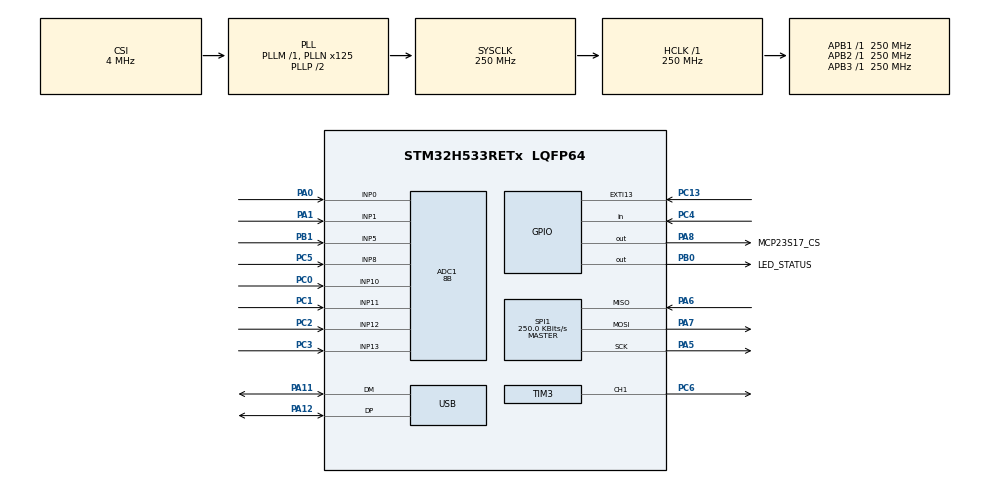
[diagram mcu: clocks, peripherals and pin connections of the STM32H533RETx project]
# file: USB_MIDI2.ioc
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ADC1.Channel-0\#ChannelRegularConversion=ADC_CHANNEL_0
ADC1.Channel-1\#ChannelRegularConversion=ADC_CHANNEL_1
ADC1.Channel-2\#ChannelRegularConversion=ADC_CHANNEL_5
ADC1.Channel-3\#ChannelRegularConversion=ADC_CHANNEL_10
ADC1.Channel-4\#ChannelRegularConversion=ADC_CHANNEL_11
ADC1.Channel-5\#ChannelRegularConversion=ADC_CHANNEL_12
ADC1.Channel-6\#ChannelRegularConversion=ADC_CHANNEL_13
ADC1.Channel-7\#ChannelRegularConversion=ADC_CHANNEL_8
ADC1.DMAContinuousRequests=ENABLE
ADC1.ExternalTrigConv=ADC_EXTERNALTRIG_T6_TRGO
ADC1.MonitoredBy-0\#ChannelRegularConversion=__NULL
ADC1.MonitoredBy-1\#ChannelRegularConversion=__NULL
ADC1.MonitoredBy-2\#ChannelRegularConversion=__NULL
ADC1.MonitoredBy-3\#ChannelRegularConversion=__NULL
ADC1.MonitoredBy-4\#ChannelRegularConversion=__NULL
ADC1.MonitoredBy-5\#ChannelRegularConversion=__NULL
ADC1.MonitoredBy-6\#ChannelRegularConversion=__NULL
ADC1.MonitoredBy-7\#ChannelRegularConversion=__NULL
ADC1.NbrOfConversion=8
ADC1.NbrOfConversionFlag=1
ADC1.OffsetNumber-0\#ChannelRegularConversion=ADC_OFFSET_NONE
ADC1.OffsetNumber-1\#ChannelRegularConversion=ADC_OFFSET_NONE
ADC1.OffsetNumber-2\#ChannelRegularConversion=ADC_OFFSET_NONE
ADC1.OffsetNumber-3\#ChannelRegularConversion=ADC_OFFSET_NONE
ADC1.OffsetNumber-4\#ChannelRegularConversion=ADC_OFFSET_NONE
ADC1.OffsetNumber-5\#ChannelRegularConversion=ADC_OFFSET_NONE
ADC1.OffsetNumber-6\#ChannelRegularConversion=ADC_OFFSET_NONE
ADC1.OffsetNumber-7\#ChannelRegularConversion=ADC_OFFSET_NONE
ADC1.Rank-0\#ChannelRegularConversion=1
ADC1.Rank-1\#ChannelRegularConversion=2
ADC1.Rank-2\#ChannelRegularConversion=3
ADC1.Rank-3\#ChannelRegularConversion=4
ADC1.Rank-4\#ChannelRegularConversion=5
ADC1.Rank-5\#ChannelRegularConversion=6
ADC1.Rank-6\#ChannelRegularConversion=7
ADC1.Rank-7\#ChannelRegularConversion=8
ADC1.Resolution=ADC_RESOLUTION_8B
ADC1.SamplingTime-0\#ChannelRegularConversion=ADC_SAMPLETIME_24CYCLES_5
ADC1.SamplingTime-1\#ChannelRegularConversion=ADC_SAMPLETIME_24CYCLES_5
ADC1.SamplingTime-2\#ChannelRegularConversion=ADC_SAMPLETIME_24CYCLES_5
ADC1.SamplingTime-3\#ChannelRegularConversion=ADC_SAMPLETIME_24CYCLES_5
ADC1.SamplingTime-4\#ChannelRegularConversion=ADC_SAMPLETIME_24CYCLES_5
ADC1.SamplingTime-5\#ChannelRegularConversion=ADC_SAMPLETIME_24CYCLES_5
ADC1.SamplingTime-6\#ChannelRegularConversion=ADC_SAMPLETIME_24CYCLES_5
ADC1.SamplingTime-7\#ChannelRegularConversion=ADC_SAMPLETIME_24CYCLES_5
ADC1.master=1
BOOTPATH.BootPathName=LEGACY
BOOTPATH.UserSelectedBootPath=LEGACY
CORTEX_M33_NS.userName=CORTEX_M33
GPDMA1.CIRCULARMODE_GPDMACH0=ENABLE
GPDMA1.DESTDATAWIDTH_GPDMACH1=DMA_DEST_DATAWIDTH_HALFWORD
GPDMA1.DESTINC_GPDMACH0=DMA_DINC_INCREMENTED
GPDMA1.DIRECTION_GPDMACH1=DMA_MEMORY_TO_PERIPH
GPDMA1.IPHANDLE_GPDMACH0-SIMPLEREQUEST_GPDMACH0=__NULL
GPDMA1.IPHANDLE_GPDMACH1-SIMPLEREQUEST_GPDMACH1=__NULL
GPDMA1.REQUEST_GPDMACH0=GPDMA1_REQUEST_ADC1
GPDMA1.REQUEST_GPDMACH1=GPDMA1_REQUEST_TIM3_CH1
GPDMA1.SRCDATAWIDTH_GPDMACH1=DMA_SRC_DATAWIDTH_HALFWORD
GPDMA1.SRCINC_GPDMACH1=DMA_SINC_INCREMENTED
Mcu.Family=STM32H5
Mcu.Name=STM32H533RETx
Mcu.Package=LQFP64
NUCLEO-H533RE.BUTTON=1
NUCLEO-H533RE.VCP=true
NVIC.ADC1_IRQn=true\:0\:0\:false\:false\:true\:true\:true\:true
NVIC.EXTI13_IRQn=true\:0\:0\:false\:false\:true\:false\:true\:true
NVIC.GPDMA1_Channel0_IRQn=true\:0\:0\:false\:false\:true\:false\:true\:true
NVIC.GPDMA1_Channel1_IRQn=true\:0\:0\:false\:false\:true\:false\:true\:true
NVIC.PriorityGroup=NVIC_PRIORITYGROUP_4
NVIC.TIM3_IRQn=true\:0\:0\:false\:false\:true\:true\:true\:true
NVIC.TIM6_IRQn=true\:0\:0\:false\:false\:true\:true\:true\:true
NVIC.USB_DRD_FS_IRQn=true\:0\:0\:false\:false\:true\:true\:true\:true
PA0.Signal=ADCx_INP0
PA1.Signal=ADCx_INP1
PA11.Mode=Device
PA11.Signal=USB_DM
PA12.Mode=Device
PA12.Signal=USB_DP
PA13(JTMS/SWDIO).GPIO_Label=SWDIO
PA13(JTMS/SWDIO).Signal=DEBUG_JTMS-SWDIO
PA14(JTCK/SWCLK).GPIO_Label=SWCLK
PA14(JTCK/SWCLK).Signal=DEBUG_JTCK-SWCLK
PA15(JTDI).GPIO_Label=JTDI
PA15(JTDI).Signal=DEBUG_JTDI
PA2.Signal=USART2_TX
PA3.Signal=USART2_RX
PA5.GPIO_Speed=GPIO_SPEED_FREQ_VERY_HIGH
PA5.Mode=Full_Duplex_Master
PA5.Signal=SPI1_SCK
PA6.GPIO_Speed=GPIO_SPEED_FREQ_HIGH
PA6.Mode=Full_Duplex_Master
PA6.Signal=SPI1_MISO
PA7.GPIO_Speed=GPIO_SPEED_FREQ_VERY_HIGH
PA7.Mode=Full_Duplex_Master
PA7.Signal=SPI1_MOSI
PA8.GPIO_Label=MCP23S17_CS
PA8.GPIO_Speed=GPIO_SPEED_FREQ_HIGH
PA8.PinState=GPIO_PIN_SET
PA8.Signal=GPIO_Output
PB0.GPIO_Label=LED_STATUS
PB0.Signal=GPIO_Output
PB1.Signal=ADCx_INP5
PB3(JTDO/TRACESWO).GPIO_Label=SWO
PB3(JTDO/TRACESWO).Signal=DEBUG_JTDO-SWO
PC0.Signal=ADCx_INP10
PC1.Signal=ADCx_INP11
PC13.Signal=GPXTI13
PC2.Signal=ADCx_INP12
PC3.Signal=ADCx_INP13
PC4.Signal=GPIO_Input
PC5.Signal=ADCx_INP8
PC6.Signal=S_TIM3_CH1
ProjectManager.HeapSize=0x200
ProjectManager.StackSize=0x400
ProjectManager.TargetToolchain=MDK-ARM V5.37
RCC.ADCFreq_Value=250000000
RCC.AHBFreq_Value=250000000
RCC.APB1Freq_Value=250000000
RCC.APB1TimFreq_Value=250000000
RCC.APB2Freq_Value=250000000
RCC.APB2TimFreq_Value=250000000
RCC.APB3Freq_Value=250000000
RCC.CSI_VALUE=4000000
RCC.CortexFreq_Value=250000000
RCC.EPOD_VALUE=4000000
RCC.HCLKFreq_Value=250000000
RCC.HSE_VALUE=25000000
RCC.HSI48_VALUE=48000000
RCC.HSI_VALUE=64000000
RCC.LSE_VALUE=32768
RCC.LSIRC_VALUE=32000
RCC.PLL2FRACN=0
RCC.PLL3FRACN=0
RCC.PLLFRACN=0
RCC.PLLN=125
RCC.SPI1CLockSelection=RCC_SPI1CLKSOURCE_CLKP
RCC.SYSCLKFreq_VALUE=250000000
RCC.SYSCLKSource=RCC_SYSCLKSOURCE_PLLCLK
RCC.USBFreq_Value=48000000
RCC.VCOOutputFreq_Value=500000000
SH.ADCx_INP0.0=ADC1_INP0,IN0-Single-Ended
SH.ADCx_INP1.0=ADC1_INP1,IN1-Single-Ended
SH.ADCx_INP10.0=ADC1_INP10,IN10-Single-Ended
SH.ADCx_INP11.0=ADC1_INP11,IN11-Single-Ended
SH.ADCx_INP12.0=ADC1_INP12,IN12-Single-Ended
SH.ADCx_INP13.0=ADC1_INP13,IN13-Single-Ended
SH.ADCx_INP5.0=ADC1_INP5,IN5-Single-Ended
SH.ADCx_INP8.0=ADC1_INP8,IN8-Single-Ended
SH.S_TIM3_CH1.0=TIM3_CH1,PWM Generation1 CH1
SPI1.BaudRatePrescaler=SPI_BAUDRATEPRESCALER_128
SPI1.CalculateBaudRate=250.0 KBits/s
SPI1.DataSize=SPI_DATASIZE_8BIT
SPI1.Direction=SPI_DIRECTION_2LINES
SPI1.Mode=SPI_MODE_MASTER
SPI1.NSSPMode=SPI_NSS_PULSE_DISABLE
SPI1.VirtualType=VM_MASTER
TIM3.Channel-PWM\ Generation1\ CH1=TIM_CHANNEL_1
TIM3.PeriodNoDither=312
TIM6.PeriodNoDither=999
TIM6.Prescaler=249
TIM6.TIM_MasterOutputTrigger=TIM_TRGO_UPDATE
USB.VirtualMode=Device_Only
VP_BOOTPATH_VS_BOOTPATH.Mode=BP_Activate
VP_CORTEX_M33_NS_VS_Hclk.Mode=Hclk_Mode
VP_GPDMA1_VS_GPDMACH0.Mode=SIMPLEREQUEST_GPDMACH0
VP_GPDMA1_VS_GPDMACH1.Mode=SIMPLEREQUEST_GPDMACH1
VP_ICACHE_VS_ICACHE.Mode=DirectMappedCache
VP_MEMORYMAP_VS_MEMORYMAP.Mode=CurAppReg
VP_NUCLEO-H533RE_VS_BSP_COMMON.Mode=COMMON
VP_PWR_VS_LPOM.Mode=PowerOptimisation
VP_PWR_VS_SECSignals.Mode=Security/Privilege
VP_TIM3_VS_ClockSourceINT.Mode=Internal
VP_TIM6_VS_ClockSourceINT.Mode=Enable_Timer
board=NUCLEO-H533RE

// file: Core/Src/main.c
/* USER CODE BEGIN Header */
/**
  ******************************************************************************
  * @file           : main.c
  * @brief          : Main program body
  ******************************************************************************
  * @attention
  *
  * Copyright (c) 2026 STMicroelectronics.
  * All rights reserved.
  *
  * This software is licensed under terms that can be found in the LICENSE file
  * in the root directory of this software component.
  * If no LICENSE file comes with this software, it is provided AS-IS.
  *
  ******************************************************************************
  */
/* USER CODE END Header */
#include "main.h"

/* USER CODE BEGIN Includes */
#include "tusb.h"

// ========== MATRIX TOGGLE ==========
// Comment out the line below to DISABLE the 4x4 matrix and go back to test-note mode
#define ENABLE_MATRIX
// ====================================

#ifdef ENABLE_MATRIX
#include "mcp23s17.h"
#include "sk6812.h"
#endif
/* USER CODE END Includes */

/* USER CODE BEGIN PD */
#define HYSTERESIS    4

// Fase 2: meerdere potentiometers
// Zet hieronder het aantal ADC kanalen dat je in CubeMX hebt geconfigureerd.
// (ADC scan mode enable + NbrOfConversion = POT_COUNT)
#define POT_COUNT     8

// MIDI CC mapping per potentiometer (0..POT_COUNT-1)
#define MIDI_CC_POT1  16
#define MIDI_CC_POT2  17
#define MIDI_CC_POT3  18
#define MIDI_CC_POT4  19
#define MIDI_CC_POT5  20
#define MIDI_CC_POT6  21
#define MIDI_CC_POT7  22
#define MIDI_CC_POT8  23
/* USER CODE END PD */

COM_InitTypeDef BspCOMInit;
ADC_HandleTypeDef hadc1;
DMA_NodeTypeDef Node_GPDMA1_Channel0;
DMA_QListTypeDef List_GPDMA1_Channel0;
DMA_HandleTypeDef handle_GPDMA1_Channel0;

SPI_HandleTypeDef hspi1;

TIM_HandleTypeDef htim3;
TIM_HandleTypeDef htim6;
DMA_HandleTypeDef handle_GPDMA1_Channel1;

PCD_HandleTypeDef hpcd_USB_DRD_FS;

/* USER CODE BEGIN PV */
// ADC waarden - worden continu gevuld door DMA (circular)
volatile uint8_t adc_values[POT_COUNT];
uint8_t last_midi_values[POT_COUNT] = {0};
/* USER CODE END PV */

void SystemClock_Config(void);
void PeriphCommonClock_Config(void);
static void MX_GPIO_Init(void);
static void MX_GPDMA1_Init(void);
static void MX_USB_PCD_Init(void);
static void MX_ICACHE_Init(void);
static void MX_ADC1_Init(void);
static void MX_SPI1_Init(void);
static void MX_TIM6_Init(void);
static void MX_TIM3_Init(void);
/* USER CODE BEGIN PFP */
extern void tusb_hal_init(void);
void midi_task(void);
void ADC_Start(void);
void process_potentiometer(void);
/* USER CODE END PFP */

/* USER CODE BEGIN 0 */
void ADC_Start(void) {
    // Start the timer to trigger ADC
    HAL_TIM_Base_Start(&htim6);
    // Start ADC conversion on continuous DMA request
    HAL_ADC_Start_DMA(&hadc1, (uint32_t*)adc_values, POT_COUNT);
}

static uint8_t pot_cc(uint8_t index)
{
  switch (index)
  {
    case 0: return MIDI_CC_POT1;
    case 1: return MIDI_CC_POT2;
    case 2: return MIDI_CC_POT3;
    case 3: return MIDI_CC_POT4;
    case 4: return MIDI_CC_POT5;
    case 5: return MIDI_CC_POT6;
    case 6: return MIDI_CC_POT7;
    case 7: return MIDI_CC_POT8;
    default: return 0;
  }
}

void process_potentiometer(void) {
    if (!tud_midi_mounted()) return;

    for (uint8_t i = 0; i < POT_COUNT; i++)
    {
      // 8-bit (0-255) -> 7-bit MIDI (0-127)
      uint8_t new_value = adc_values[i] >> 1;

      int16_t diff = (int16_t)new_value - (int16_t)last_midi_values[i];
      if (diff < 0) diff = -diff;

      if (diff >= HYSTERESIS)
      {
        uint8_t cc = pot_cc(i);
        if (cc != 0)
        {
          uint8_t msg[3] = { 0xB0, cc, new_value };
          tud_midi_stream_write(0, msg, 3);
        }
        last_midi_values[i] = new_value;
      }
    }
}
/* USER CODE END 0 */

int main(void)
{

  /* MCU Configuration--------------------------------------------------------*/

  /* Reset of all peripherals, Initializes the Flash interface and the Systick. */
  HAL_Init();

  /* Configure the system clock */
  SystemClock_Config();

  /* Configure the peripherals common clocks */
  PeriphCommonClock_Config();

  /* Initialize all configured peripherals */
  MX_GPIO_Init();
  MX_GPDMA1_Init();
  MX_USB_PCD_Init();
  MX_ICACHE_Init();
  MX_ADC1_Init();
  MX_SPI1_Init();
  MX_TIM6_Init();
  MX_TIM3_Init();
  /* USER CODE BEGIN 2 */

  // Initialize SK6812 LED strip and run animation before blocking tasks
#ifdef ENABLE_MATRIX
  sk6812_init();
  sk6812_startup_animation();
#endif

  // Initialize tinyUSB FIRST (must be before SPI/Matrix!)
  tusb_init();

  // Start USB peripheral
  tusb_hal_init();

  // SPI is already initialized by CubeMX/HAL. We only START using it after USB is mounted.

  ADC_Start(); // Start de timer en ADC voor Fase 1
  /* USER CODE END 2 */

  /* Initialize USER push-button, will be used to trigger an interrupt each time it's pressed.*/
  BSP_PB_Init(BUTTON_USER, BUTTON_MODE_EXTI);

  /* Initialize COM1 port (115200, 8 bits (7-bit data + 1 stop bit), no parity */
  BspCOMInit.BaudRate   = 115200;
  BspCOMInit.WordLength = COM_WORDLENGTH_8B;
  BspCOMInit.StopBits   = COM_STOPBITS_1;
  BspCOMInit.Parity     = COM_PARITY_NONE;
  BspCOMInit.HwFlowCtl  = COM_HWCONTROL_NONE;
  if (BSP_COM_Init(COM1, &BspCOMInit) != BSP_ERROR_NONE)
  {
    Error_Handler();
  }

  /* Infinite loop */
  while (1)
  {

    /* USER CODE BEGIN 3 */

    // TinyUSB device task - MUST be called frequently!
    tud_task();

#ifdef ENABLE_MATRIX
    // Start matrix only AFTER USB enumeration is complete.
    // This prevents long SPI timeouts from breaking USB detection.
    static bool matrix_started = false;
    static uint32_t matrix_arm_ms = 0;
  static uint32_t matrix_retry_ms = 0;

    if (!matrix_started)
    {
      if (tud_mounted())
      {
        // Backoff between retries if MCP is not responding
        if (matrix_retry_ms != 0)
        {
          if ((HAL_GetTick() - matrix_retry_ms) < 1000)
          {
            // wait before trying again
            midi_task();
            continue;
          }
          matrix_retry_ms = 0;
        }

        if (matrix_arm_ms == 0) matrix_arm_ms = HAL_GetTick();

        // Give host a moment after mount before starting SPI traffic
        if ((HAL_GetTick() - matrix_arm_ms) >= 250)
        {
          Matrix_Init(&hspi1);

          if (Matrix_IsPresent())
          {
            matrix_started = true;
          }
          else
          {
            // Retry later if MCP23S17 is not responding on SPI
            matrix_retry_ms = HAL_GetTick();
            matrix_arm_ms = 0;
          }
        }
      }
      else
      {
        matrix_arm_ms = 0;
        matrix_retry_ms = 0;
      }
    }
    else
    {
      // Scan 4x4 button matrix and send MIDI notes
      Matrix_Scan();
    }
#endif

    // Drain incoming MIDI + LED heartbeat
    midi_task();

    // Verwerk en verzend de potentiometer CC berichten
    process_potentiometer();
  }
  /* USER CODE END 3 */
}

void SystemClock_Config(void)
{
  RCC_OscInitTypeDef RCC_OscInitStruct = {0};
  RCC_ClkInitTypeDef RCC_ClkInitStruct = {0};

  /** Configure the main internal regulator output voltage
  */
  __HAL_PWR_VOLTAGESCALING_CONFIG(PWR_REGULATOR_VOLTAGE_SCALE0);

  while(!__HAL_PWR_GET_FLAG(PWR_FLAG_VOSRDY)) {}

  /** Initializes the RCC Oscillators according to the specified parameters
  * in the RCC_OscInitTypeDef structure.
  */
  RCC_OscInitStruct.OscillatorType = RCC_OSCILLATORTYPE_HSI48|RCC_OSCILLATORTYPE_HSI
                              |RCC_OSCILLATORTYPE_CSI;
  RCC_OscInitStruct.HSIState = RCC_HSI_ON;
  RCC_OscInitStruct.HSIDiv = RCC_HSI_DIV2;
  RCC_OscInitStruct.HSICalibrationValue = RCC_HSICALIBRATION_DEFAULT;
  RCC_OscInitStruct.HSI48State = RCC_HSI48_ON;
  RCC_OscInitStruct.CSIState = RCC_CSI_ON;
  RCC_OscInitStruct.CSICalibrationValue = RCC_CSICALIBRATION_DEFAULT;
  RCC_OscInitStruct.PLL.PLLState = RCC_PLL_ON;
  RCC_OscInitStruct.PLL.PLLSource = RCC_PLL1_SOURCE_CSI;
  RCC_OscInitStruct.PLL.PLLM = 1;
  RCC_OscInitStruct.PLL.PLLN = 125;
  RCC_OscInitStruct.PLL.PLLP = 2;
  RCC_OscInitStruct.PLL.PLLQ = 2;
  RCC_OscInitStruct.PLL.PLLR = 2;
  RCC_OscInitStruct.PLL.PLLRGE = RCC_PLL1_VCIRANGE_2;
  RCC_OscInitStruct.PLL.PLLVCOSEL = RCC_PLL1_VCORANGE_WIDE;
  RCC_OscInitStruct.PLL.PLLFRACN = 0;
  if (HAL_RCC_OscConfig(&RCC_OscInitStruct) != HAL_OK)
  {
    Error_Handler();
  }

  /** Initializes the CPU, AHB and APB buses clocks
  */
  RCC_ClkInitStruct.ClockType = RCC_CLOCKTYPE_HCLK|RCC_CLOCKTYPE_SYSCLK
                              |RCC_CLOCKTYPE_PCLK1|RCC_CLOCKTYPE_PCLK2
                              |RCC_CLOCKTYPE_PCLK3;
  RCC_ClkInitStruct.SYSCLKSource = RCC_SYSCLKSOURCE_PLLCLK;
  RCC_ClkInitStruct.AHBCLKDivider = RCC_SYSCLK_DIV1;
  RCC_ClkInitStruct.APB1CLKDivider = RCC_HCLK_DIV1;
  RCC_ClkInitStruct.APB2CLKDivider = RCC_HCLK_DIV1;
  RCC_ClkInitStruct.APB3CLKDivider = RCC_HCLK_DIV1;

  if (HAL_RCC_ClockConfig(&RCC_ClkInitStruct, FLASH_LATENCY_5) != HAL_OK)
  {
    Error_Handler();
  }

  /** Configure the programming delay
  */
  __HAL_FLASH_SET_PROGRAM_DELAY(FLASH_PROGRAMMING_DELAY_2);
}

void PeriphCommonClock_Config(void)
{
  RCC_PeriphCLKInitTypeDef PeriphClkInitStruct = {0};

  /** Initializes the peripherals clock
  */
  PeriphClkInitStruct.PeriphClockSelection = RCC_PERIPHCLK_CKPER;
  PeriphClkInitStruct.CkperClockSelection = RCC_CLKPSOURCE_HSI;
  if (HAL_RCCEx_PeriphCLKConfig(&PeriphClkInitStruct) != HAL_OK)
  {
    Error_Handler();
  }
}

static void MX_ADC1_Init(void)
{

  ADC_ChannelConfTypeDef sConfig = {0};

  /** Common config
  */
  hadc1.Instance = ADC1;
  hadc1.Init.ClockPrescaler = ADC_CLOCK_ASYNC_DIV4;
  hadc1.Init.Resolution = ADC_RESOLUTION_8B;
  hadc1.Init.DataAlign = ADC_DATAALIGN_RIGHT;
  hadc1.Init.ScanConvMode = ADC_SCAN_ENABLE;
  hadc1.Init.EOCSelection = ADC_EOC_SINGLE_CONV;
  hadc1.Init.LowPowerAutoWait = DISABLE;
  hadc1.Init.ContinuousConvMode = DISABLE;
  hadc1.Init.NbrOfConversion = 8;
  hadc1.Init.DiscontinuousConvMode = DISABLE;
  hadc1.Init.ExternalTrigConv = ADC_EXTERNALTRIG_T6_TRGO;
  hadc1.Init.ExternalTrigConvEdge = ADC_EXTERNALTRIGCONVEDGE_RISING;
  hadc1.Init.DMAContinuousRequests = ENABLE;
  hadc1.Init.SamplingMode = ADC_SAMPLING_MODE_NORMAL;
  hadc1.Init.Overrun = ADC_OVR_DATA_PRESERVED;
  hadc1.Init.OversamplingMode = DISABLE;
  if (HAL_ADC_Init(&hadc1) != HAL_OK)
  {
    Error_Handler();
  }

  /** Configure Regular Channel
  */
  sConfig.Channel = ADC_CHANNEL_0;
  sConfig.Rank = ADC_REGULAR_RANK_1;
  sConfig.SamplingTime = ADC_SAMPLETIME_24CYCLES_5;
  sConfig.SingleDiff = ADC_SINGLE_ENDED;
  sConfig.OffsetNumber = ADC_OFFSET_NONE;
  sConfig.Offset = 0;
  if (HAL_ADC_ConfigChannel(&hadc1, &sConfig) != HAL_OK)
  {
    Error_Handler();
  }

  /** Configure Regular Channel
  */
  sConfig.Channel = ADC_CHANNEL_1;
  sConfig.Rank = ADC_REGULAR_RANK_2;
  if (HAL_ADC_ConfigChannel(&hadc1, &sConfig) != HAL_OK)
  {
    Error_Handler();
  }

  /** Configure Regular Channel
  */
  sConfig.Channel = ADC_CHANNEL_5;
  sConfig.Rank = ADC_REGULAR_RANK_3;
  if (HAL_ADC_ConfigChannel(&hadc1, &sConfig) != HAL_OK)
  {
    Error_Handler();
  }

  /** Configure Regular Channel
  */
  sConfig.Channel = ADC_CHANNEL_10;
  sConfig.Rank = ADC_REGULAR_RANK_4;
  if (HAL_ADC_ConfigChannel(&hadc1, &sConfig) != HAL_OK)
  {
    Error_Handler();
  }

  /** Configure Regular Channel
  */
  sConfig.Channel = ADC_CHANNEL_11;
  sConfig.Rank = ADC_REGULAR_RANK_5;
  if (HAL_ADC_ConfigChannel(&hadc1, &sConfig) != HAL_OK)
  {
    Error_Handler();
  }

  /** Configure Regular Channel
  */
  sConfig.Channel = ADC_CHANNEL_12;
  sConfig.Rank = ADC_REGULAR_RANK_6;
  if (HAL_ADC_ConfigChannel(&hadc1, &sConfig) != HAL_OK)
  {
    Error_Handler();
  }

  /** Configure Regular Channel
  */
  sConfig.Channel = ADC_CHANNEL_13;
  sConfig.Rank = ADC_REGULAR_RANK_7;
  if (HAL_ADC_ConfigChannel(&hadc1, &sConfig) != HAL_OK)
  {
    Error_Handler();
  }

  /** Configure Regular Channel
  */
  sConfig.Channel = ADC_CHANNEL_8;
  sConfig.Rank = ADC_REGULAR_RANK_8;
  if (HAL_ADC_ConfigChannel(&hadc1, &sConfig) != HAL_OK)
  {
    Error_Handler();
  }

}

static void MX_GPDMA1_Init(void)
{

  /* Peripheral clock enable */
  __HAL_RCC_GPDMA1_CLK_ENABLE();

  /* GPDMA1 interrupt Init */
    HAL_NVIC_SetPriority(GPDMA1_Channel0_IRQn, 0, 0);
    HAL_NVIC_EnableIRQ(GPDMA1_Channel0_IRQn);
    HAL_NVIC_SetPriority(GPDMA1_Channel1_IRQn, 0, 0);
    HAL_NVIC_EnableIRQ(GPDMA1_Channel1_IRQn);

}

static void MX_ICACHE_Init(void)
{

  /** Enable instruction cache in 1-way (direct mapped cache)
  */
  if (HAL_ICACHE_ConfigAssociativityMode(ICACHE_1WAY) != HAL_OK)
  {
    Error_Handler();
  }
  if (HAL_ICACHE_Enable() != HAL_OK)
  {
    Error_Handler();
  }

}

static void MX_SPI1_Init(void)
{

  /* SPI1 parameter configuration*/
  hspi1.Instance = SPI1;
  hspi1.Init.Mode = SPI_MODE_MASTER;
  hspi1.Init.Direction = SPI_DIRECTION_2LINES;
  hspi1.Init.DataSize = SPI_DATASIZE_8BIT;
  hspi1.Init.CLKPolarity = SPI_POLARITY_LOW;
  hspi1.Init.CLKPhase = SPI_PHASE_1EDGE;
  hspi1.Init.NSS = SPI_NSS_SOFT;
  hspi1.Init.BaudRatePrescaler = SPI_BAUDRATEPRESCALER_128;
  hspi1.Init.FirstBit = SPI_FIRSTBIT_MSB;
  hspi1.Init.TIMode = SPI_TIMODE_DISABLE;
  hspi1.Init.CRCCalculation = SPI_CRCCALCULATION_DISABLE;
  hspi1.Init.CRCPolynomial = 0x7;
  hspi1.Init.NSSPMode = SPI_NSS_PULSE_DISABLE;
  hspi1.Init.NSSPolarity = SPI_NSS_POLARITY_LOW;
  hspi1.Init.FifoThreshold = SPI_FIFO_THRESHOLD_01DATA;
  hspi1.Init.MasterSSIdleness = SPI_MASTER_SS_IDLENESS_00CYCLE;
  hspi1.Init.MasterInterDataIdleness = SPI_MASTER_INTERDATA_IDLENESS_00CYCLE;
  hspi1.Init.MasterReceiverAutoSusp = SPI_MASTER_RX_AUTOSUSP_DISABLE;
  hspi1.Init.MasterKeepIOState = SPI_MASTER_KEEP_IO_STATE_DISABLE;
  hspi1.Init.IOSwap = SPI_IO_SWAP_DISABLE;
  hspi1.Init.ReadyMasterManagement = SPI_RDY_MASTER_MANAGEMENT_INTERNALLY;
  hspi1.Init.ReadyPolarity = SPI_RDY_POLARITY_HIGH;
  if (HAL_SPI_Init(&hspi1) != HAL_OK)
  {
    Error_Handler();
  }

}

static void MX_TIM3_Init(void)
{

  TIM_ClockConfigTypeDef sClockSourceConfig = {0};
  TIM_MasterConfigTypeDef sMasterConfig = {0};
  TIM_OC_InitTypeDef sConfigOC = {0};

  htim3.Instance = TIM3;
  htim3.Init.Prescaler = 0;
  htim3.Init.CounterMode = TIM_COUNTERMODE_UP;
  htim3.Init.Period = 312;
  htim3.Init.ClockDivision = TIM_CLOCKDIVISION_DIV1;
  htim3.Init.AutoReloadPreload = TIM_AUTORELOAD_PRELOAD_DISABLE;
  if (HAL_TIM_Base_Init(&htim3) != HAL_OK)
  {
    Error_Handler();
  }
  sClockSourceConfig.ClockSource = TIM_CLOCKSOURCE_INTERNAL;
  if (HAL_TIM_ConfigClockSource(&htim3, &sClockSourceConfig) != HAL_OK)
  {
    Error_Handler();
  }
  if (HAL_TIM_PWM_Init(&htim3) != HAL_OK)
  {
    Error_Handler();
  }
  sMasterConfig.MasterOutputTrigger = TIM_TRGO_RESET;
  sMasterConfig.MasterSlaveMode = TIM_MASTERSLAVEMODE_DISABLE;
  if (HAL_TIMEx_MasterConfigSynchronization(&htim3, &sMasterConfig) != HAL_OK)
  {
    Error_Handler();
  }
  sConfigOC.OCMode = TIM_OCMODE_PWM1;
  sConfigOC.Pulse = 0;
  sConfigOC.OCPolarity = TIM_OCPOLARITY_HIGH;
  sConfigOC.OCFastMode = TIM_OCFAST_DISABLE;
  if (HAL_TIM_PWM_ConfigChannel(&htim3, &sConfigOC, TIM_CHANNEL_1) != HAL_OK)
  {
    Error_Handler();
  }
  HAL_TIM_MspPostInit(&htim3);

}

static void MX_TIM6_Init(void)
{

  TIM_MasterConfigTypeDef sMasterConfig = {0};

  htim6.Instance = TIM6;
  htim6.Init.Prescaler = 249;
  htim6.Init.CounterMode = TIM_COUNTERMODE_UP;
  htim6.Init.Period = 999;
  htim6.Init.AutoReloadPreload = TIM_AUTORELOAD_PRELOAD_DISABLE;
  if (HAL_TIM_Base_Init(&htim6) != HAL_OK)
  {
    Error_Handler();
  }
  sMasterConfig.MasterOutputTrigger = TIM_TRGO_UPDATE;
  sMasterConfig.MasterSlaveMode = TIM_MASTERSLAVEMODE_DISABLE;
  if (HAL_TIMEx_MasterConfigSynchronization(&htim6, &sMasterConfig) != HAL_OK)
  {
    Error_Handler();
  }

}

static void MX_USB_PCD_Init(void)
{

  /* USER CODE BEGIN USB_Init 1 */

  // USB is initialized by HAL (HAL_PCD_Init below). TinyUSB runs on top of it.

  /* USER CODE END USB_Init 1 */
  hpcd_USB_DRD_FS.Instance = USB_DRD_FS;
  hpcd_USB_DRD_FS.Init.dev_endpoints = 8;
  hpcd_USB_DRD_FS.Init.speed = USBD_FS_SPEED;
  hpcd_USB_DRD_FS.Init.phy_itface = PCD_PHY_EMBEDDED;
  hpcd_USB_DRD_FS.Init.Sof_enable = DISABLE;
  hpcd_USB_DRD_FS.Init.low_power_enable = DISABLE;
  hpcd_USB_DRD_FS.Init.lpm_enable = DISABLE;
  hpcd_USB_DRD_FS.Init.battery_charging_enable = DISABLE;
  hpcd_USB_DRD_FS.Init.vbus_sensing_enable = DISABLE;
  hpcd_USB_DRD_FS.Init.bulk_doublebuffer_enable = DISABLE;
  hpcd_USB_DRD_FS.Init.iso_singlebuffer_enable = DISABLE;
  if (HAL_PCD_Init(&hpcd_USB_DRD_FS) != HAL_OK)
  {
    Error_Handler();
  }

}

static void MX_GPIO_Init(void)
{
  GPIO_InitTypeDef GPIO_InitStruct = {0};

  /* GPIO Ports Clock Enable */
  __HAL_RCC_GPIOC_CLK_ENABLE();
  __HAL_RCC_GPIOA_CLK_ENABLE();
  __HAL_RCC_GPIOB_CLK_ENABLE();

  /*Configure GPIO pin Output Level */
  HAL_GPIO_WritePin(LED_STATUS_GPIO_Port, LED_STATUS_Pin, GPIO_PIN_RESET);

  /*Configure GPIO pin Output Level */
  HAL_GPIO_WritePin(MCP23S17_CS_GPIO_Port, MCP23S17_CS_Pin, GPIO_PIN_SET);

  /*Configure GPIO pin : PC4 */
  GPIO_InitStruct.Pin = GPIO_PIN_4;
  GPIO_InitStruct.Mode = GPIO_MODE_INPUT;
  GPIO_InitStruct.Pull = GPIO_NOPULL;
  HAL_GPIO_Init(GPIOC, &GPIO_InitStruct);

  /*Configure GPIO pin : LED_STATUS_Pin */
  GPIO_InitStruct.Pin = LED_STATUS_Pin;
  GPIO_InitStruct.Mode = GPIO_MODE_OUTPUT_PP;
  GPIO_InitStruct.Pull = GPIO_NOPULL;
  GPIO_InitStruct.Speed = GPIO_SPEED_FREQ_LOW;
  HAL_GPIO_Init(LED_STATUS_GPIO_Port, &GPIO_InitStruct);

  /*Configure GPIO pin : MCP23S17_CS_Pin */
  GPIO_InitStruct.Pin = MCP23S17_CS_Pin;
  GPIO_InitStruct.Mode = GPIO_MODE_OUTPUT_PP;
  GPIO_InitStruct.Pull = GPIO_NOPULL;
  GPIO_InitStruct.Speed = GPIO_SPEED_FREQ_HIGH;
  HAL_GPIO_Init(MCP23S17_CS_GPIO_Port, &GPIO_InitStruct);

}

/* USER CODE BEGIN 4 */

//--------------------------------------------------------------------+
// MIDI Task
//--------------------------------------------------------------------+

void midi_task(void)
{
  // Drain incoming MIDI to avoid sender blocking
  uint8_t packet[4];
  while ( tud_midi_available() ) tud_midi_packet_read(packet);

  // Build ID (derived from __TIME__) so you can confirm in MidiView that you flashed the latest build.
  // This avoids relying on Keil's "file changed, reload?" prompt.
  static uint8_t build_id = 0;
  if (build_id == 0)
  {
    const char *t = __TIME__; // "HH:MM:SS"
    uint8_t h = 0;
    h ^= (uint8_t)(t[0] * 3u);
    h ^= (uint8_t)(t[1] * 5u);
    h ^= (uint8_t)(t[3] * 7u);
    h ^= (uint8_t)(t[4] * 11u);
    h ^= (uint8_t)(t[6] * 13u);
    h ^= (uint8_t)(t[7] * 17u);
    build_id = (uint8_t)(h & 0x7Fu);
    if (build_id == 0) build_id = 1;
  }

#ifdef ENABLE_MATRIX
  // Matrix mode: LED indicates MCP/SPI status without needing a MIDI monitor.
  // diag=1: slow heartbeat (1 Hz)
  // diag=2/3: fast blink (4 Hz)
  static uint32_t led_ms = 0;
  uint32_t now = HAL_GetTick();

  uint8_t diag = Matrix_GetDiag();
  uint32_t period = (diag == 1) ? 1000 : 250;
  if ((now - led_ms) > period)
  {
    led_ms = now;
    HAL_GPIO_TogglePin(LED_STATUS_GPIO_Port, LED_STATUS_Pin);
  }

  // MIDI heartbeat/diagnose CC's disabled: we only want potentiometer CC output.
#else
  // Test mode: auto Note On/Off every second (original working MIDI)
  static uint32_t start_ms = 0;
  static bool note_on = false;
  if (HAL_GetTick() - start_ms > 1000)
  {
    start_ms = HAL_GetTick();
    HAL_GPIO_TogglePin(LED_STATUS_GPIO_Port, LED_STATUS_Pin);
    uint8_t cable_num = 0;
    uint8_t channel = 0;
    uint8_t note = 60;
    uint8_t velocity = 100;
    if (note_on)
    {
      uint8_t note_off[3] = { 0x80 | channel, note, 0 };
      tud_midi_stream_write(cable_num, note_off, 3);
      note_on = false;
    }
    else
    {
      uint8_t note_on_msg[3] = { 0x90 | channel, note, velocity };
      tud_midi_stream_write(cable_num, note_on_msg, 3);
      note_on = true;
    }
  }
#endif
}

/* USER CODE END 4 */

void Error_Handler(void)
{
  __disable_irq();
  while (1)
  {
  }
}
